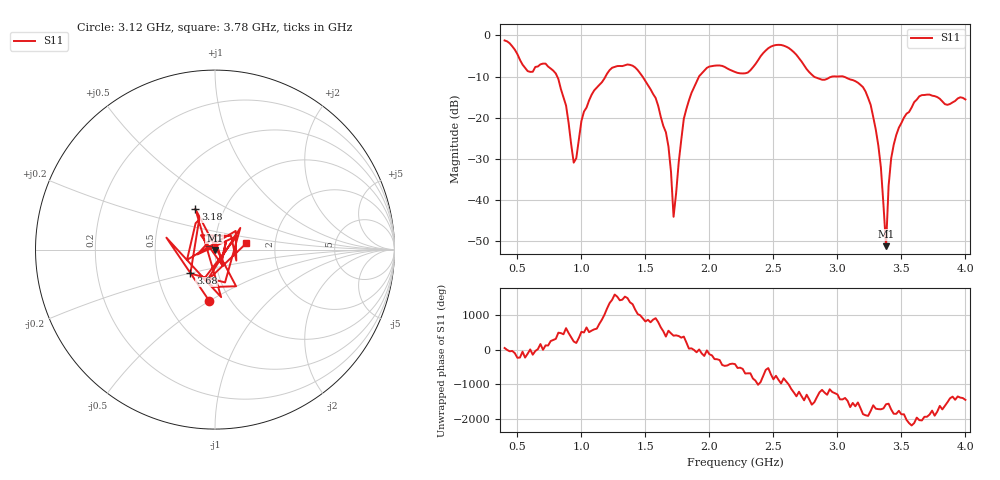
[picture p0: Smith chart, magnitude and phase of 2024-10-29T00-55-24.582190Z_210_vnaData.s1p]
!Created with skrf (http://scikit-rf.org).
# Hz S RI R 50.0
!freq ReS11 ImS11
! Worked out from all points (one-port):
!   181 points, 400 MHz to 4 GHz, reference 50 ohm
!   lowest |S11| = -51.2 dB at 3.38 GHz (marker M1), VSWR 1.01, Z = 49.8 - j0.196 ohm
!   |S11| at or under -10 dB: 811.4 MHz to 1.188 GHz (376.5 MHz wide, 37.7 % of centre); 1.478 GHz to 1.919 GHz (440.8 MHz wide, 26 % of centre); 3.048 GHz to end of sweep (the widest 3 of 4)
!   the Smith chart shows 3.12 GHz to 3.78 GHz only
!   S11 on the Smith chart (normalised r, x): 3.12 GHz: 0.80, -0.50; 3.18 GHz: 0.73, +0.35; 3.68 GHz: 0.74, -0.20; 3.78 GHz: 1.42, +0.10
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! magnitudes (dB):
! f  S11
! 400 MHz  -1.2
! 580 MHz  -8.7
! 780 MHz  -8.5
! 860 MHz  -15.0
! 940 MHz  -30.9
! 1.08 GHz  -14.4
! 1.3 GHz  -7.4
! 1.58 GHz  -15.2
! 1.68 GHz  -27.0
! 1.72 GHz  -44.0
! 1.76 GHz  -30.9
! 1.8 GHz  -20.3
! 1.92 GHz  -9.9
! 2.2 GHz  -8.9
! 2.66 GHz  -4.1
! 2.82 GHz  -10.1
! 3.1 GHz  -10.7
! 3.12 GHz  -10.8
! 3.18 GHz  -12.0
! 3.26 GHz  -16.9
! 3.32 GHz  -26.8
! 3.38 GHz  -51.2
! 3.4 GHz  -36.5
! 3.42 GHz  -29.9
! 3.56 GHz  -18.6
! 3.68 GHz  -14.5
! 3.78 GHz  -15.0
! 4 GHz  -15.5
